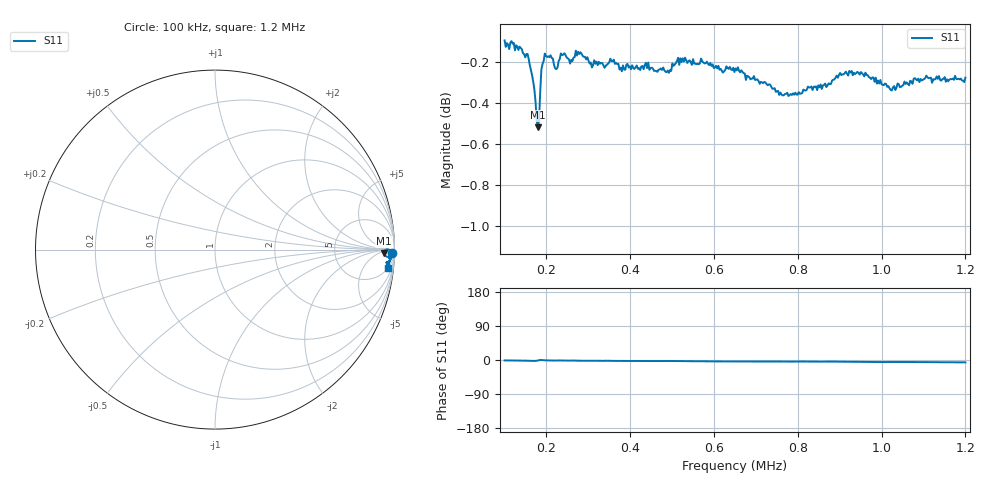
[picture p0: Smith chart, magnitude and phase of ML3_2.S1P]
!Agilent Technologies,E5071C,MY46100265,A.07.02
!Date: Wed Mar 04 14:53:01 2020
!Data & Calibration Information:
!Freq	S11:SOLT1(ON)
# Hz S MA R 50
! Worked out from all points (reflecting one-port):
!   402 points, 100 kHz to 1.2 MHz, reference 50 ohm
!   lowest |S11| = -0.5 dB at 179.6 kHz (marker M1), VSWR 33.49, Z = 1.49e+03 - j522 ohm
!   phase of S11 starts at -1 deg and turns -5 deg over the sweep
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100000  0.989 -1.1
152120  0.9816 -1.9
165835  0.9697 -2.3
174065  0.955 -2.3
179551  0.942 -1.2
185037  0.9611 0.1
187781  0.973 -0.1
193267  0.9777 -0.6
201496  0.9799 -1.0
215212  0.979 -1.5
223441  0.9733 -1.3
239900  0.9811 -1.5
264589  0.9796 -1.6
275561  0.9827 -1.9
297506  0.9798 -2.0
377057  0.974 -2.3
453865  0.9736 -2.8
489526  0.9725 -2.7
514214  0.9795 -2.8
651372  0.9736 -3.9
736409  0.9638 -4.4
788529  0.9602 -4.2
881796  0.9671 -4.2
925686  0.9714 -4.8
991521  0.9671 -5.3
1027182  0.9634 -5.3
1062843  0.9652 -5.2
1200000  0.9686 -6.2
